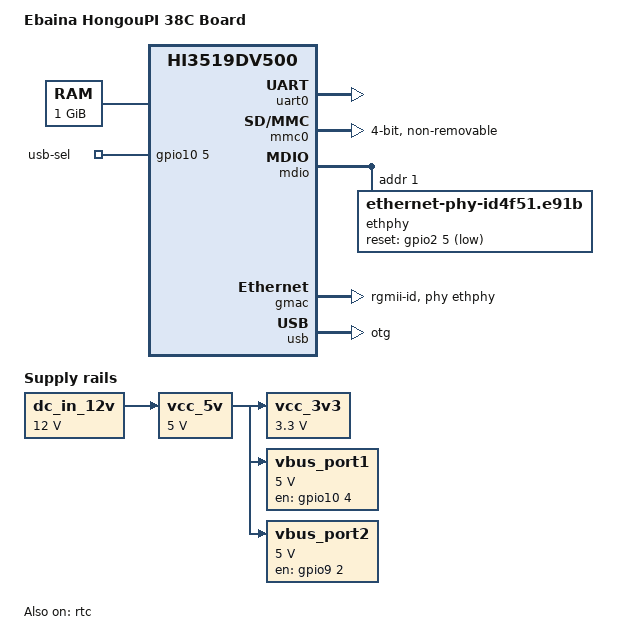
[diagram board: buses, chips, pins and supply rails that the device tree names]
// SPDX-License-Identifier: (GPL-2.0+ OR MIT)
// Copyright (C) 2026 Jun Yan <jerrysteve1101@gmail.com>

/dts-v1/;

#include <dt-bindings/gpio/gpio.h>

#include "hi3519dv500.dtsi"

/ {
	model = "Ebaina HongouPI 38C Board";
	compatible = "ebaina,hongoupi-38c", "hisilicon,hi3519dv500";

	aliases {
		serial0 = &uart0;
	};

	chosen {
		stdout-path = "serial0:115200n8";
		/*
		 * U-Boot rewrites this property in place with strlcpy() using
		 * its "bootargs" environment variable.  The property must be
		 * large enough for that value, otherwise the write overruns
		 * into the following FDT structure block and the kernel fails
		 * early_init_dt_scan() before the console is up.
		 * Reserve COMMAND_LINE_SIZE (1024) bytes.
		 */
		bootargs = "earlycon=pl011,0x11040000 console=ttyAMA0,115200 bootargs-placeholder-bootargs-placeholder-bootargs-placeholder-bootargs-placeholder-bootargs-placeholder-bootargs-placeholder-bootargs-placeholder-bootargs-placeholder-bootargs-placeholder-bootargs-placeholder-bootargs-placeholder-bootargs-placeholder-bootargs-placeholder-bootargs-placeholder-bootargs-placeholder-bootargs-placeholder-bootargs-placeholder-bootargs-placeholder-bootargs-placeholder-bootargs-placeholder-bootargs-placeholder-bootargs-placeholder-bootargs-placeholder-bootargs-placeholder-bootargs-placeholder-bootargs-placeholder-bootargs-placeholder-bootargs-placeholder-bootargs-placeholder-bootargs-placeholder-bootargs-placeholder-bootargs-placeholder-bootargs-placeholder-bootargs-placeholder-bootargs-placeholder-bootargs-placeholder-bootargs-placeholder-bootargs-placeholder-bootargs-placeholder-bootargs-placeholder-bootargs-placeholder-bootargs-placeholder-bootargs-placeholder-bootargs-placeholder-bootargs-placeholder-bootargs-placeholder-bootargs";
	};

	memory@40030000 {
		device_type = "memory";
		reg = <0x0 0x40030000 0x0 0x40000000>;
	};

	dc_in_12v: regulator-dc-in-12v {
		compatible = "regulator-fixed";
		regulator-name = "dc_in_12v";
		regulator-min-microvolt = <12000000>;
		regulator-max-microvolt = <12000000>;
		regulator-always-on;
		regulator-boot-on;
	};

	vcc_5v: regulator-vcc-5v {
		compatible = "regulator-fixed";
		regulator-name = "vcc_5v";
		regulator-min-microvolt = <5000000>;
		regulator-max-microvolt = <5000000>;
		regulator-always-on;
		regulator-boot-on;
		vin-supply = <&dc_in_12v>;
	};

	vcc_3v3: regulator-vcc-3v3 {
		compatible = "regulator-fixed";
		regulator-name = "vcc_3v3";
		regulator-min-microvolt = <3300000>;
		regulator-max-microvolt = <3300000>;
		regulator-always-on;
		regulator-boot-on;
		vin-supply = <&vcc_5v>;
	};

	vbus_port1: regulator-vbus-port1 {
		compatible = "regulator-fixed";
		regulator-name = "vbus_port1";
		regulator-min-microvolt = <5000000>;
		regulator-max-microvolt = <5000000>;
		regulator-always-on;
		enable-active-high;
		gpio = <&gpio10 4 GPIO_ACTIVE_HIGH>;
		vin-supply = <&vcc_5v>;
	};

	vbus_port2: regulator-vbus-port2 {
		compatible = "regulator-fixed";
		regulator-name = "vbus_port2";
		regulator-min-microvolt = <5000000>;
		regulator-max-microvolt = <5000000>;
		regulator-always-on;
		enable-active-high;
		gpio = <&gpio9 2 GPIO_ACTIVE_HIGH>;
		vin-supply = <&vcc_5v>;
	};

	usb-sel {
		compatible = "gpio-leds";

		usb_sel_hub: usb-sel {
			label = "usb-sel";
			gpios = <&gpio10 5 GPIO_ACTIVE_HIGH>;
			default-state = "off";
		};
	};
};

&uart0 {
	status = "okay";
};

&rtc {
	status = "okay";
};

&mmc0 {
	bus-width = <4>;
	non-removable;
	cap-mmc-highspeed;
	mmc-hs200-1_8v;
	cap-mmc-hw-reset;
	no-sd;
	no-sdio;
	pinctrl-names = "default", "mmc-hs", "hs200";
	pinctrl-0 = <&mmc0_clk_pins &mmc0_cmd_pins &mmc0_4bit_data_pins
		     &mmc0_rst_pins &mmc0_ds_pins>;
	pinctrl-1 = <&mmc0_hs_clk_pins &mmc0_4bit_hs_data_pins>;
	pinctrl-2 = <&mmc0_hs200_clk_pins &mmc0_4bit_hs200_data_pins
		     &mmc0_hs200_ds_pins>;
	status = "okay";
};

&mdio {
	status = "okay";

	ethphy: ethernet-phy@1 {
		compatible = "ethernet-phy-id4f51.e91b";
		reg = <1>;
		reset-gpios = <&gpio2 5 GPIO_ACTIVE_LOW>;
		reset-assert-us = <10000>;
		reset-deassert-us = <100000>;
	};
};

&gmac {
	phy-handle = <&ethphy>;
	phy-mode = "rgmii-id";
	pinctrl-0 = <&rgmii_pins &mdio_pins &ephy_clk_pins>;
	status = "okay";
};

&usb {
	dr_mode = "otg";
	usb-role-switch;
	role-switch-default-mode = "host";
	maximum-speed = "high-speed";
	snps,usb2-lpm-disable;
	pinctrl-names = "default";
	pinctrl-0 = <&usb_vbus_pins &usb_sel_pins &usb_port1_vbus_pins
		     &usb_port2_vbus_pins>;
	status = "okay";
};

&ioconfig0 {
	usb_sel_pins: usb-sel-pins {
		pinmux = <HI3519DV500_PINMUX(0x18, 0)>;
	};
};

&ioconfig2 {
	usb_port1_vbus_pins: usb-port1-vbus-pins {
		pinmux = <HI3519DV500_PINMUX(0x14, 0)>;
	};
};

&ioconfig3 {
	usb_port2_vbus_pins: usb-port2-vbus-pins {
		pinmux = <HI3519DV500_PINMUX(0x20c, 1)>;
	};
};
